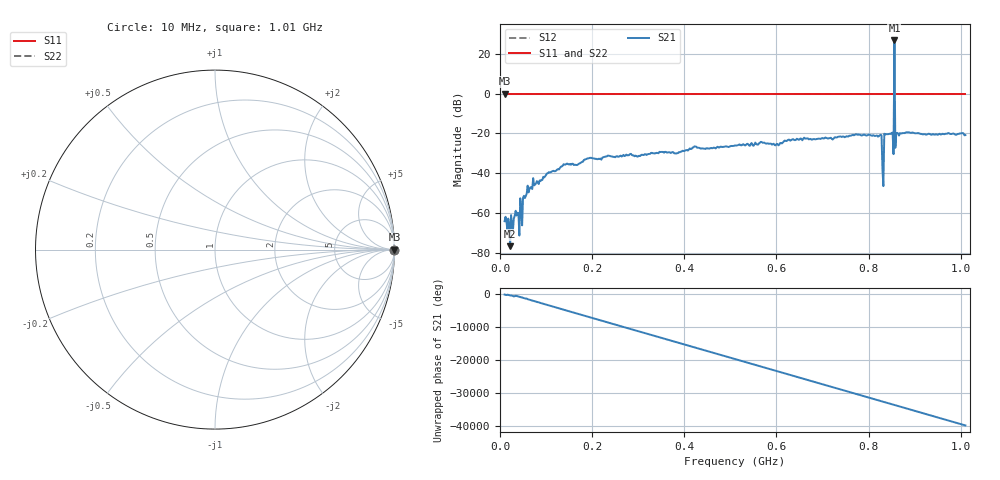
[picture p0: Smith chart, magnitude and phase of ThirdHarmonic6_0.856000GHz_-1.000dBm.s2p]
! 8/16/2025 4:19:24 AM
! C:\ANRITSUVNA\TEMP\TEMP.S2P
! CHANNEL.1
! TR.MEASUREMENT
! RAW.DATA
! RF.CORRECTION.OFF
! AVERAGING.OFF
! IF.BANDWIDTH: 5KHZ
! SWEEPTYPE:  FREQ.SWEEP(Linear)
! Reference Plane Port Info
! PORT:  PORT1  PORT2
! DISTANCE:  0  m  0  m
! TIME:  0  s  0  s
! PHASE.OFFSET:  0  deg.  0  deg.
! LOSS:  0  dB  0  dB
! REF.LOSS:  0  dB  0  dB
! REF.FREQ:  0  Hz  0  Hz
! Power Info
! POWER:  -20  dBm  -20  dBm
! EFF.POWER:  -20  dBm  -20  dBm
! SOURCE.ATTEN:  0  dB  0  dB
! TEST.ATTEN:  0  dB  0  dB
# GHZ S RI R 50.0
! FREQ.GHZ  S11RE  S11IM  S21RE  S21IM  S12RE  S12IM  S22RE  S22IM
!; PortSelection: Port_12
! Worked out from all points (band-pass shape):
!   501 points, 10 MHz to 1.01 GHz, reference 50 ohm
!   highest |S21| = 26.66 dB at 856 MHz (marker M1); lowest = -76.7 dB at 22 MHz (marker M2)
!   |S21| within 3 dB of the highest: 855.8949 MHz to 856.1113 MHz (216.4 kHz wide, 0.0253 % of centre)
!   lowest |S11| = 0.0 dB at 10 MHz (marker M3)
!   |S11| at or under -10 dB: nowhere
!   |S22| runs from 0.0 to 0.0 dB; largest |S21 - S12| = 22
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0.01  1 0  -1.73e-05 -0.000622  1 0  1 0
0.022  1 0  0.000139 -4.89e-05  1 0  1 0
0.036  1 0  -0.000827 -0.00026  1 0  1 0
0.044  1 0  -0.00113 -0.00206  1 0  1 0
0.056  1 0  -0.00047 0.00262  1 0  1 0
0.076  1 0  0.00513 0.000474  1 0  1 0
0.142  1 0  -0.0157 -0.00479  1 0  1 0
0.178  1 0  -0.0191 -0.0024  1 0  1 0
0.344  1 0  0.029 -0.0129  1 0  1 0
0.51  1 0  -0.0382 0.0316  1 0  1 0
0.678  1 0  -0.0586 -0.0384  1 0  1 0
0.824  1 0  0.00974 0.0892  1 0  1 0
0.828  1 0  0.0122 -0.088  1 0  1 0
0.834  1 0  0.0736 0.0646  1 0  1 0
0.838  1 0  -0.0486 -0.0821  1 0  1 0
0.844  1 0  0.0965 -0.00621  1 0  1 0
0.85  1 0  -0.0426 0.0932  1 0  1 0
0.852  1 0  0.0884 0.0555  1 0  1 0
0.856  1 0  -19.96 -8.05  1 0  1 0
0.86  1 0  0.035 0.0935  1 0  1 0
0.862  1 0  0.1003 -0.0232  1 0  1 0
1.01  1 0  -0.0623 0.0654  1 0  1 0
